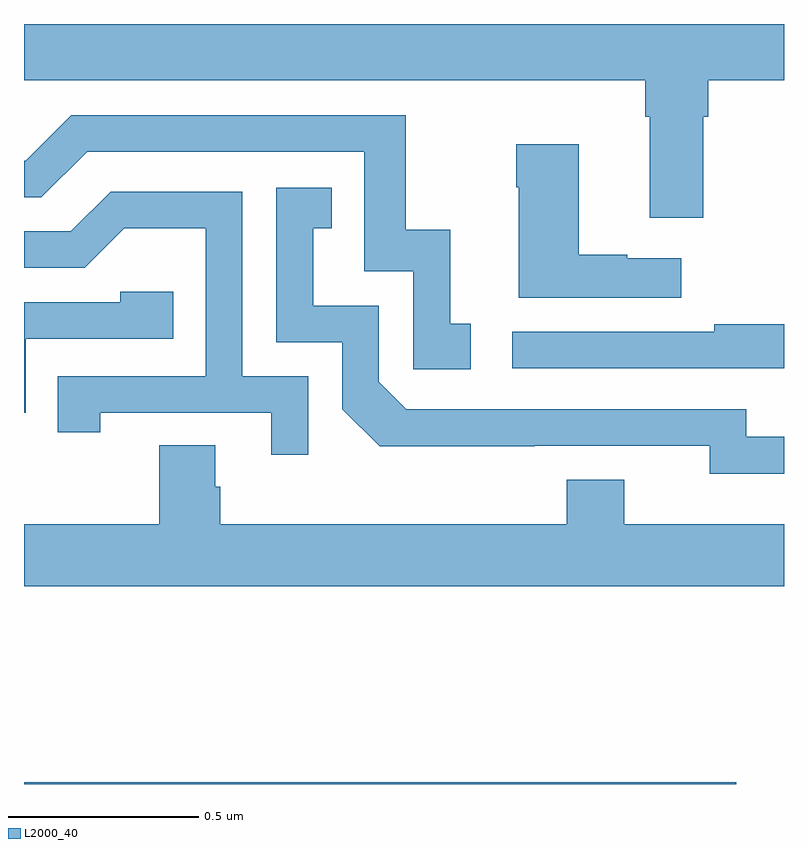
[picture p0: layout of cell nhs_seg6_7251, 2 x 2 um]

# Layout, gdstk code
import gdstk
lib = gdstk.Library(unit=1e-6, precision=1e-09)
def R(c, l, rs):  # rectangles x0, y0, x1, y1
    for r in rs: c.add(gdstk.rectangle(r[:2], r[2:], *l))
def P(c, l, *ps):  # polygons
    for p in ps: c.add(gdstk.Polygon(p, *l))
L2000_40 = (2000, 40)

nhs_seg6_7251 = lib.new_cell('nhs_seg6_7251')
R(nhs_seg6_7251, L2000_40, [(206,929.5,207.874,929.504)])
P(nhs_seg6_7251, L2000_40, [(207.787,931.256),(207.8,931.256),(207.8,931.352),(208,931.352),(208,931.5),(206,931.5),(206,931.352),(207.635,931.352),(207.635,931.256),(207.647,931.256),(207.647,930.99),(207.787,930.99)],
  [(207.175,930.711),(207.122,930.711),(207.122,930.958),(207.004,930.958),(207.004,931.26),(206.124,931.26),(206.004,931.14),(206,931.14),(206,931.044),(206.046,931.044),(206.166,931.164),(206.895,931.164),(206.895,930.849),(207.024,930.849),(207.024,930.591),(207.175,930.591)],
  [(207.73,930.883),(207.587,930.883),(207.587,930.893),(207.46,930.893),(207.46,931.183),(207.295,931.183),(207.295,931.07),(207.302,931.07),(207.302,930.779),(207.73,930.779)],
  [(208,930.414),(207.9,930.414),(207.9,930.486),(207.006,930.486),(206.934,930.558),(206.934,930.759),(206.761,930.759),(206.761,930.963),(206.81,930.963),(206.81,931.069),(206.664,931.069),(206.664,930.663),(206.838,930.663),(206.838,930.486),(206.936,930.389),(207.344,930.389),(207.344,930.39),(207.804,930.39),(207.804,930.317),(208,930.317)],
  [(206.748,930.573),(206.574,930.573),(206.574,931.059),(206.228,931.059),(206.123,930.954),(206,930.954),(206,930.858),(206.16,930.858),(206.264,930.962),(206.478,930.962),(206.478,930.573),(206.089,930.573),(206.089,930.426),(206.2,930.426),(206.2,930.477),(206.651,930.477),(206.651,930.366),(206.748,930.366)],
  [(206.004,930.672),(206.393,930.672),(206.393,930.795),(206.253,930.795),(206.253,930.768),(206,930.768),(206,930.477),(206.004,930.477)],
  [(208,930.71),(207.817,930.71),(207.817,930.69),(207.285,930.69),(207.285,930.594),(208,930.594)],
  [(208,930.184),(207.58,930.184),(207.58,930.301),(207.428,930.301),(207.428,930.184),(206.516,930.184),(206.516,930.282),(206.503,930.282),(206.503,930.392),(206.356,930.392),(206.356,930.184),(206,930.184),(206,930.02),(208,930.02)])

lib.write_gds('nhs_seg6_7251.gds')
